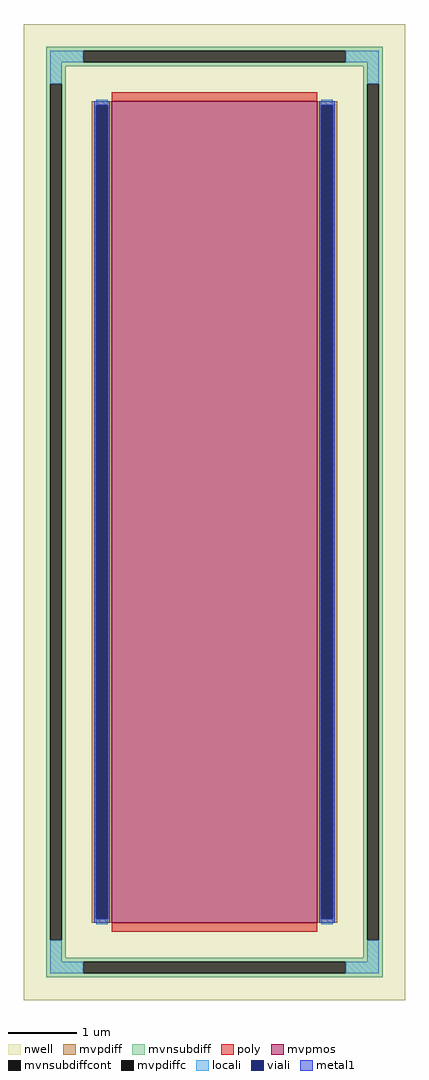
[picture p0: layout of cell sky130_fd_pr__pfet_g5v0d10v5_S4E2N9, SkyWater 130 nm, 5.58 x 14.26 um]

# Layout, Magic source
magic
tech sky130A
<< nwell >>
rect -279 -713 279 713
<< mvpmos >>
rect -150 -600 150 600
<< mvpdiff >>
rect -179 594 -150 600
rect -179 -594 -173 594
rect -156 -594 -150 594
rect -179 -600 -150 -594
rect 150 594 179 600
rect 150 -594 156 594
rect 173 -594 179 594
rect 150 -600 179 -594
<< mvpdiffc >>
rect -173 -594 -156 594
rect 156 -594 173 594
<< mvnsubdiff >>
rect -246 674 246 680
rect -246 657 -192 674
rect 192 657 246 674
rect -246 651 246 657
rect -246 626 -217 651
rect -246 -626 -240 626
rect -223 -626 -217 626
rect 217 626 246 651
rect -246 -651 -217 -626
rect 217 -626 223 626
rect 240 -626 246 626
rect 217 -651 246 -626
rect -246 -657 246 -651
rect -246 -674 -192 -657
rect 192 -674 246 -657
rect -246 -680 246 -674
<< mvnsubdiffcont >>
rect -192 657 192 674
rect -240 -626 -223 626
rect 223 -626 240 626
rect -192 -674 192 -657
<< poly >>
rect -150 600 150 613
rect -150 -613 150 -600
<< locali >>
rect -240 657 -192 674
rect 192 657 240 674
rect -240 626 -223 657
rect 223 626 240 657
rect -173 594 -156 602
rect -173 -602 -156 -594
rect 156 594 173 602
rect 156 -602 173 -594
rect -240 -657 -223 -626
rect 223 -657 240 -626
rect -240 -674 -192 -657
rect 192 -674 240 -657
<< viali >>
rect -173 -594 -156 594
rect 156 -594 173 594
<< metal1 >>
rect -176 594 -153 600
rect -176 -594 -173 594
rect -156 -594 -153 594
rect -176 -600 -153 -594
rect 153 594 176 600
rect 153 -594 156 594
rect 173 -594 176 594
rect 153 -600 176 -594
<< properties >>
string FIXED_BBOX -231 -665 231 665
string gencell sky130_fd_pr__pfet_g5v0d10v5
string library sky130
string parameters w 12 l 3 m 1 nf 1 diffcov 100 polycov 100 guard 1 glc 1 grc 1 gtc 1 gbc 1 tbcov 100 rlcov 100 topc 0 botc 0 poverlap 0 doverlap 1 lmin 0.50 wmin 0.42 compatible {sky130_fd_pr__pfet_01v8  sky130_fd_pr__pfet_01v8_lvt sky130_fd_pr__pfet_01v8_hvt  sky130_fd_pr__pfet_g5v0d10v5} full_metal 1 viasrc 100 viadrn 100 viagate 100 viagb 0 viagr 0 viagl 0 viagt 0
<< end >>
